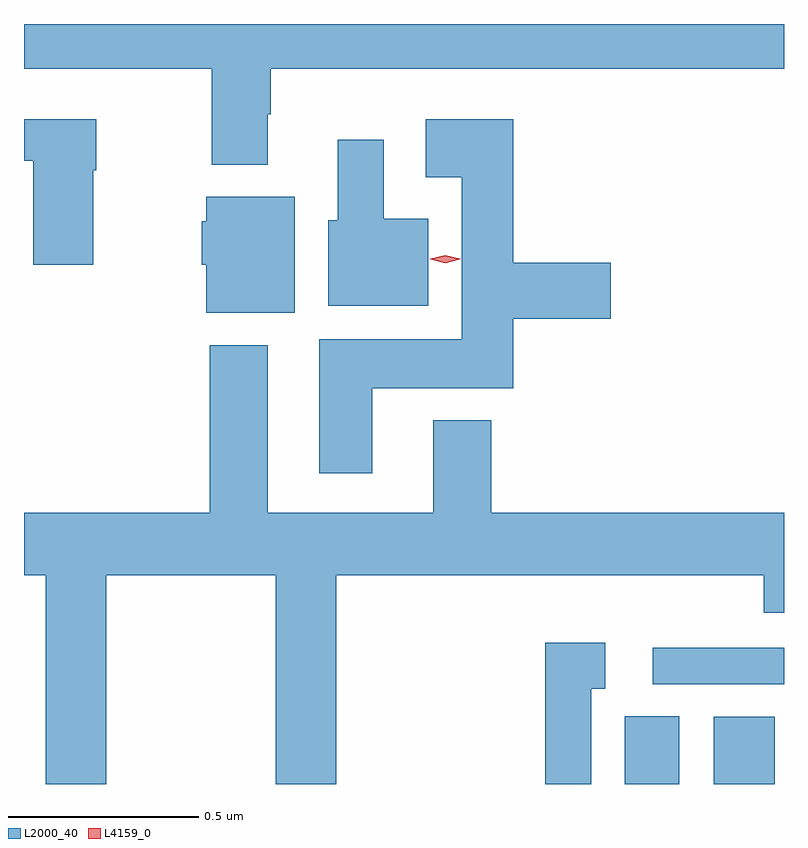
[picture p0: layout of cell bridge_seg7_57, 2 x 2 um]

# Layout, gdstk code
import gdstk
lib = gdstk.Library(unit=1e-6, precision=1e-09)
def R(c, l, rs):  # rectangles x0, y0, x1, y1
    for r in rs: c.add(gdstk.rectangle(r[:2], r[2:], *l))
def P(c, l, *ps):  # polygons
    for p in ps: c.add(gdstk.Polygon(p, *l))
L2000_40 = (2000, 40)
L4159_0 = (4159, 0)

bridge_seg7_57 = lib.new_cell('bridge_seg7_57')
R(bridge_seg7_57, L2000_40, [(907.271,1009.39,907.414,1009.568), (907.505,1009.39,907.666,1009.567), (907.344,1009.653,907.69,1009.749)])
P(bridge_seg7_57, L2000_40, [(906.331,1011.152),(906.339,1011.152),(906.339,1011.272),(907.69,1011.272),(907.69,1011.39),(905.69,1011.39),(905.69,1011.272),(906.184,1011.272),(906.184,1011.02),(906.331,1011.02)],
  [(905.872,1011.005),(905.88,1011.005),(905.88,1011.139),(905.69,1011.139),(905.69,1011.03),(905.714,1011.03),(905.714,1010.757),(905.872,1010.757)],
  [(906.607,1010.432),(906.977,1010.432),(906.977,1010.615),(907.234,1010.615),(907.234,1010.762),(906.977,1010.762),(906.977,1011.139),(906.747,1011.139),(906.747,1010.987),(906.842,1010.987),(906.842,1010.56),(906.467,1010.56),(906.467,1010.208),(906.607,1010.208)],
  [(906.754,1010.878),(906.637,1010.878),(906.637,1011.085),(906.515,1011.085),(906.515,1010.874),(906.491,1010.874),(906.491,1010.648),(906.754,1010.648)],
  [(906.403,1010.935),(906.17,1010.935),(906.17,1010.871),(906.158,1010.871),(906.158,1010.757),(906.17,1010.757),(906.17,1010.63),(906.403,1010.63)],
  [(905.907,1009.94),(906.352,1009.94),(906.352,1009.39),(906.512,1009.39),(906.512,1009.94),(907.637,1009.94),(907.637,1009.841),(907.69,1009.841),(907.69,1010.104),(906.92,1010.104),(906.92,1010.347),(906.767,1010.347),(906.767,1010.104),(906.331,1010.104),(906.331,1010.545),(906.179,1010.545),(906.179,1010.104),(905.69,1010.104),(905.69,1009.94),(905.747,1009.94),(905.747,1009.39),(905.907,1009.39)],
  [(907.183,1009.641),(907.219,1009.641),(907.219,1009.762),(907.062,1009.762),(907.062,1009.39),(907.183,1009.39)])
P(bridge_seg7_57, L4159_0, [(906.798,1010.761),(906.759,1010.771),(906.759,1010.771),(906.759,1010.772),(906.798,1010.781),(906.838,1010.772),(906.838,1010.771),(906.838,1010.771)])

lib.write_gds('bridge_seg7_57.gds')
